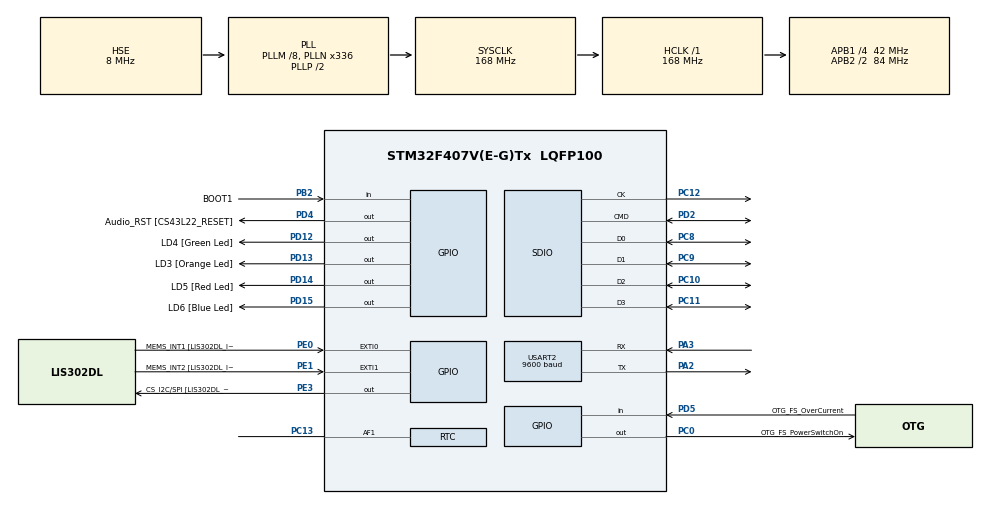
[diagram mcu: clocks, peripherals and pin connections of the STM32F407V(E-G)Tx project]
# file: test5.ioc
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Dma.Request0=USART2_TX
Dma.USART2_TX.0.Channel=DMA_CHANNEL_4
Dma.USART2_TX.0.Direction=DMA_MEMORY_TO_PERIPH
Dma.USART2_TX.0.FIFOMode=DMA_FIFOMODE_DISABLE
Dma.USART2_TX.0.Instance=DMA1_Stream6
Dma.USART2_TX.0.MemDataAlignment=DMA_MDATAALIGN_BYTE
Dma.USART2_TX.0.MemInc=DMA_MINC_ENABLE
Dma.USART2_TX.0.Mode=DMA_NORMAL
Dma.USART2_TX.0.PeriphDataAlignment=DMA_PDATAALIGN_BYTE
Dma.USART2_TX.0.PeriphInc=DMA_PINC_DISABLE
Dma.USART2_TX.0.Priority=DMA_PRIORITY_LOW
FATFS._FS_LOCK=0
FREERTOS.Tasks01=defaultTask,0,128,StartDefaultTask,Default;hk,-2,128,StartTask02,Default
Mcu.Family=STM32F4
Mcu.Name=STM32F407V(E-G)Tx
Mcu.Package=LQFP100
NVIC.DMA1_Stream6_IRQn=true\:5\:0\:false\:false\:true
NVIC.PriorityGroup=NVIC_PRIORITYGROUP_4
NVIC.SDIO_IRQn=true\:5\:0\:false\:false\:true
NVIC.TIM1_UP_TIM10_IRQn=true\:0\:0\:false\:false\:true
NVIC.TimeBase=TIM1_UP_TIM10_IRQn
NVIC.TimeBaseIP=TIM1
NVIC.USART2_IRQn=true\:5\:0\:false\:false\:true
PA10.GPIO_Label=OTG_FS_ID
PA10.GPIO_Mode=GPIO_MODE_AF_PP
PA10.GPIO_PuPd=GPIO_NOPULL
PA10.GPIO_Speed=GPIO_SPEED_FREQ_LOW
PA10.Signal=USB_OTG_FS_ID
PA11.GPIO_Label=OTG_FS_DM
PA11.GPIO_Mode=GPIO_MODE_AF_PP
PA11.GPIO_PuPd=GPIO_NOPULL
PA11.GPIO_Speed=GPIO_SPEED_FREQ_LOW
PA11.Signal=USB_OTG_FS_DM
PA12.GPIO_Label=OTG_FS_DP
PA12.GPIO_Mode=GPIO_MODE_AF_PP
PA12.GPIO_PuPd=GPIO_NOPULL
PA12.GPIO_Speed=GPIO_SPEED_FREQ_LOW
PA12.Signal=USB_OTG_FS_DP
PA13.GPIO_Label=SWDIO
PA13.Mode=Trace-Asynchronous_SW
PA13.Signal=SYS_JTMS-SWDIO
PA14.GPIO_Label=SWCLK
PA14.Mode=Trace-Asynchronous_SW
PA14.Signal=SYS_JTCK-SWCLK
PA2.Mode=Asynchronous
PA2.Signal=USART2_TX
PA3.Mode=Asynchronous
PA3.Signal=USART2_RX
PA4.GPIO_Label=I2S3_WS [CS43L22_LRCK]
PA4.GPIO_Mode=GPIO_MODE_AF_PP
PA4.GPIO_PuPd=GPIO_NOPULL
PA4.GPIO_Speed=GPIO_SPEED_FREQ_LOW
PA4.Signal=I2S3_WS
PA5.GPIO_Label=SPI1_SCK [LIS302DL_SCL/SPC]
PA5.GPIO_Mode=GPIO_MODE_AF_PP
PA5.GPIO_PuPd=GPIO_NOPULL
PA5.GPIO_Speed=GPIO_SPEED_FREQ_LOW
PA5.Signal=SPI1_SCK
PA6.GPIO_Label=SPI1_MISO [LIS302DL_SDO]
PA6.GPIO_Mode=GPIO_MODE_AF_PP
PA6.GPIO_PuPd=GPIO_NOPULL
PA6.GPIO_Speed=GPIO_SPEED_FREQ_LOW
PA6.Signal=SPI1_MISO
PA7.GPIO_Label=SPI1_MOSI [LIS302DL_SDA/SDI/SDO]
PA7.GPIO_Mode=GPIO_MODE_AF_PP
PA7.GPIO_PuPd=GPIO_NOPULL
PA7.GPIO_Speed=GPIO_SPEED_FREQ_LOW
PA7.Signal=SPI1_MOSI
PA9.GPIO_Label=VBUS_FS
PA9.GPIO_Mode=GPIO_MODE_INPUT
PA9.GPIO_PuPd=GPIO_NOPULL
PA9.Signal=USB_OTG_FS_VBUS
PB10.GPIO_Label=CLK_IN [MP45DT02_CLK]
PB10.GPIO_Mode=GPIO_MODE_AF_PP
PB10.GPIO_PuPd=GPIO_NOPULL
PB10.GPIO_Speed=GPIO_SPEED_FREQ_LOW
PB10.Signal=I2S2_CK
PB2.GPIO_Label=BOOT1
PB2.GPIO_Mode=GPIO_MODE_INPUT
PB2.GPIO_PuPd=GPIO_NOPULL
PB2.Signal=GPIO_Input
PB3.GPIO_Label=SWO
PB3.Mode=Trace-Asynchronous_SW
PB3.Signal=SYS_JTDO-SWO
PB6.GPIO_Label=Audio_SCL [CS43L22_SCL]
PB6.GPIO_Mode=GPIO_MODE_AF_OD
PB6.GPIO_PuPd=GPIO_NOPULL
PB6.GPIO_Speed=GPIO_SPEED_FREQ_LOW
PB6.Signal=I2C1_SCL
PB9.GPIO_Label=Audio_SDA [CS43L22_SDA]
PB9.GPIO_Mode=GPIO_MODE_AF_OD
PB9.GPIO_PuPd=GPIO_NOPULL
PB9.GPIO_Speed=GPIO_SPEED_FREQ_LOW
PB9.Signal=I2C1_SDA
PC0.GPIO_Label=OTG_FS_PowerSwitchOn
PC0.GPIO_PuPd=GPIO_NOPULL
PC0.GPIO_Speed=GPIO_SPEED_FREQ_LOW
PC0.Signal=GPIO_Output
PC10.Mode=SD_4_bits_Wide_bus
PC10.Signal=SDIO_D2
PC11.Mode=SD_4_bits_Wide_bus
PC11.Signal=SDIO_D3
PC12.Mode=SD_4_bits_Wide_bus
PC12.Signal=SDIO_CK
PC13-ANTI_TAMP.Mode=Calibration_1Hz
PC13-ANTI_TAMP.Signal=RTC_AF1
PC14-OSC32_IN.GPIO_Label=PC14-OSC32_IN
PC14-OSC32_IN.Signal=RCC_OSC32_IN
PC15-OSC32_OUT.GPIO_Label=PC15-OSC32_OUT
PC15-OSC32_OUT.Signal=RCC_OSC32_OUT
PC3.GPIO_Label=PDM_OUT [MP45DT02_DOUT]
PC3.GPIO_Mode=GPIO_MODE_AF_PP
PC3.GPIO_PuPd=GPIO_NOPULL
PC3.GPIO_Speed=GPIO_SPEED_FREQ_LOW
PC3.Signal=I2S2_SD
PC7.GPIO_Label=I2S3_MCK [CS43L22_MCLK]
PC7.GPIO_Mode=GPIO_MODE_AF_PP
PC7.GPIO_PuPd=GPIO_NOPULL
PC7.GPIO_Speed=GPIO_SPEED_FREQ_LOW
PC7.Signal=I2S3_MCK
PC8.Mode=SD_4_bits_Wide_bus
PC8.Signal=SDIO_D0
PC9.Mode=SD_4_bits_Wide_bus
PC9.Signal=SDIO_D1
PD12.GPIO_Label=LD4 [Green Led]
PD12.GPIO_PuPd=GPIO_NOPULL
PD12.GPIO_Speed=GPIO_SPEED_FREQ_LOW
PD12.Signal=GPIO_Output
PD13.GPIO_Label=LD3 [Orange Led]
PD13.GPIO_PuPd=GPIO_NOPULL
PD13.GPIO_Speed=GPIO_SPEED_FREQ_LOW
PD13.Signal=GPIO_Output
PD14.GPIO_Label=LD5 [Red Led]
PD14.GPIO_PuPd=GPIO_NOPULL
PD14.GPIO_Speed=GPIO_SPEED_FREQ_LOW
PD14.Signal=GPIO_Output
PD15.GPIO_Label=LD6 [Blue Led]
PD15.GPIO_PuPd=GPIO_NOPULL
PD15.GPIO_Speed=GPIO_SPEED_FREQ_LOW
PD15.Signal=GPIO_Output
PD2.Mode=SD_4_bits_Wide_bus
PD2.Signal=SDIO_CMD
PD4.GPIO_Label=Audio_RST [CS43L22_RESET]
PD4.GPIO_PuPd=GPIO_NOPULL
PD4.GPIO_Speed=GPIO_SPEED_FREQ_LOW
PD4.Signal=GPIO_Output
PD5.GPIO_Label=OTG_FS_OverCurrent
PD5.GPIO_Mode=GPIO_MODE_INPUT
PD5.GPIO_PuPd=GPIO_NOPULL
PD5.Signal=GPIO_Input
PE0.GPIO_Label=MEMS_INT1 [LIS302DL_INT1]
PE0.Signal=GPXTI0
PE1.GPIO_Label=MEMS_INT2 [LIS302DL_INT2]
PE1.GPIO_ModeDefaultEXTI=GPIO_MODE_EVT_RISING
PE1.GPIO_PuPd=GPIO_NOPULL
PE1.Signal=GPXTI1
PE3.GPIO_Label=CS_I2C/SPI [LIS302DL_CS_I2C/SPI]
PE3.GPIO_PuPd=GPIO_NOPULL
PE3.GPIO_Speed=GPIO_SPEED_FREQ_LOW
PE3.Signal=GPIO_Output
PH0-OSC_IN.GPIO_Label=PH0-OSC_IN
PH0-OSC_IN.Mode=HSE-External-Oscillator
PH0-OSC_IN.Signal=RCC_OSC_IN
PH1-OSC_OUT.GPIO_Label=PH1-OSC_OUT
PH1-OSC_OUT.Mode=HSE-External-Oscillator
PH1-OSC_OUT.Signal=RCC_OSC_OUT
ProjectManager.HeapSize=0x200
ProjectManager.StackSize=0x400
ProjectManager.TargetToolchain=EWARM
RCC.AHBFreq_Value=168000000
RCC.APB1CLKDivider=RCC_HCLK_DIV4
RCC.APB1Freq_Value=42000000
RCC.APB1TimFreq_Value=84000000
RCC.APB2CLKDivider=RCC_HCLK_DIV2
RCC.APB2Freq_Value=84000000
RCC.APB2TimFreq_Value=168000000
RCC.CortexFreq_Value=168000000
RCC.HCLKFreq_Value=168000000
RCC.HSE_VALUE=8000000
RCC.HSI_VALUE=16000000
RCC.LSE_VALUE=32768
RCC.PLLM=8
RCC.PLLN=336
RCC.PLLQ=7
RCC.PLLSourceVirtual=RCC_PLLSOURCE_HSE
RCC.SYSCLKFreq_VALUE=168000000
RCC.SYSCLKSource=RCC_SYSCLKSOURCE_PLLCLK
RCC.VCOOutputFreq_Value=336000000
RTC.Format=RTC_FORMAT_BIN
RTC.Hours=12
RTC.Minutes=15
RTC.Month=RTC_MONTH_APRIL
RTC.Seconds=17
RTC.StoreOperation=RTC_STOREOPERATION_RESET
RTC.WeekDay=RTC_WEEKDAY_FRIDAY
RTC.Year=16
SDIO.BusWide=SDIO_BUS_WIDE_1B
SDIO.WideMode=SDIO_BUS_WIDE_4B
USART2.BaudRate=9600
VP_FATFS_VS_SDIO.Mode=SDIO
VP_FREERTOS_VS_ENABLE.Mode=Enabled
VP_IWDG_VS_IWDG.Mode=IWDG_Activate
VP_SYS_VS_tim1.Mode=TIM1
VP_WWDG_VS_WWDG.Mode=WWDG_Activate
board=STM32F407G-DISC1

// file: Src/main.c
/**
  ******************************************************************************
  * File Name          : main.c
  * Description        : Main program body
  ******************************************************************************
  *
  * COPYRIGHT(c) 2016 STMicroelectronics
  *
  * Redistribution and use in source and binary forms, with or without modification,
  * are permitted provided that the following conditions are met:
  *   1. Redistributions of source code must retain the above copyright notice,
  *      this list of conditions and the following disclaimer.
  *   2. Redistributions in binary form must reproduce the above copyright notice,
  *      this list of conditions and the following disclaimer in the documentation
  *      and/or other materials provided with the distribution.
  *   3. Neither the name of STMicroelectronics nor the names of its contributors
  *      may be used to endorse or promote products derived from this software
  *      without specific prior written permission.
  *
  * THIS SOFTWARE IS PROVIDED BY THE COPYRIGHT HOLDERS AND CONTRIBUTORS "AS IS"
  * AND ANY EXPRESS OR IMPLIED WARRANTIES, INCLUDING, BUT NOT LIMITED TO, THE
  * IMPLIED WARRANTIES OF MERCHANTABILITY AND FITNESS FOR A PARTICULAR PURPOSE ARE
  * DISCLAIMED. IN NO EVENT SHALL THE COPYRIGHT HOLDER OR CONTRIBUTORS BE LIABLE
  * FOR ANY DIRECT, INDIRECT, INCIDENTAL, SPECIAL, EXEMPLARY, OR CONSEQUENTIAL
  * DAMAGES (INCLUDING, BUT NOT LIMITED TO, PROCUREMENT OF SUBSTITUTE GOODS OR
  * SERVICES; LOSS OF USE, DATA, OR PROFITS; OR BUSINESS INTERRUPTION) HOWEVER
  * CAUSED AND ON ANY THEORY OF LIABILITY, WHETHER IN CONTRACT, STRICT LIABILITY,
  * OR TORT (INCLUDING NEGLIGENCE OR OTHERWISE) ARISING IN ANY WAY OUT OF THE USE
  * OF THIS SOFTWARE, EVEN IF ADVISED OF THE POSSIBILITY OF SUCH DAMAGE.
  *
  ******************************************************************************
  */

#include "fatfs.h"
#include <stdio.h>
#include <string.h>
#include "stm32f4xx_hal.h"
#include "stm32f4xx_hal_gpio.h"
#include "stm32f4xx_hal_rcc.h"
#include "stm32f4xx_hal_uart.h"
#include "cmsis_os.h"
#include "fatfs.h"
#include "FreeRTOS.h"
#include "task.h"
#include "timers.h"
#include "semphr.h"
#include "scheduling_service.h"

IWDG_HandleTypeDef hiwdg;

RTC_HandleTypeDef hrtc;

SD_HandleTypeDef hsd;
HAL_SD_CardInfoTypedef SDCardInfo;

UART_HandleTypeDef huart2;
DMA_HandleTypeDef hdma_usart2_tx;

WWDG_HandleTypeDef hwwdg;

osThreadId defaultTaskHandle;
osThreadId hkHandle;

/* USER CODE BEGIN PV */
/* Private variables ---------------------------------------------------------*/

/* USER CODE END PV */

void SystemClock_Config(void);
static void MX_GPIO_Init(void);
static void MX_DMA_Init(void);
static void MX_SDIO_SD_Init(void);
static void MX_USART2_UART_Init(void);
static void MX_RTC_Init(void);
static void MX_IWDG_Init(void);
static void MX_WWDG_Init(void);

void StartDefaultTask(void const * argument);
void StartTask02(void const * argument);

/* USER CODE BEGIN PFP */
/* Private function prototypes -----------------------------------------------*/
TaskFunction_t ToggleLED_Timer1(void*);
TaskFunction_t ToggleLED_Timer2(void*);
TaskFunction_t ToggleLED_Timer3(void*);
TaskFunction_t ToggleLED_Timer4(void*);
TaskFunction_t UART2_ReceiveData(void*);
TaskFunction_t UART2_TransmitData(void*);
TaskFunction_t UART2_TransmitData(void* pvParameters);
/* USER CODE END PFP */

int main(void)
{

  /* MCU Configuration----------------------------------------------------------*/

  /* Reset of all peripherals, Initializes the Flash interface and the Systick. */
  HAL_Init();

  /* Configure the system clock */
  SystemClock_Config();

  /* Initialize all configured peripherals */
  MX_GPIO_Init();
  MX_DMA_Init();
  MX_SDIO_SD_Init();
  MX_USART2_UART_Init();
  MX_RTC_Init();
  MX_IWDG_Init();
  MX_WWDG_Init();

  /* Create the thread(s) */
  /* definition and creation of defaultTask */

  osThreadDef(defaultTask, StartDefaultTask, osPriorityNormal, 0, 128);
  defaultTaskHandle = osThreadCreate(osThread(defaultTask), NULL);

  /* definition and creation of hk */
  osThreadDef(hk, StartTask02, osPriorityLow, 0, 128);
  hkHandle = osThreadCreate(osThread(hk), NULL);

  /* USER CODE BEGIN RTOS_THREADS */
      xTaskCreate(
               ToggleLED_Timer1, /* Function pointer */
               "Task1", /* Task name - for debugging only*/
               configMINIMAL_STACK_SIZE, /* Stack depth in words */
               (void*) NULL, /* Pointer to tasks arguments (parameter) */
               tskIDLE_PRIORITY + 2UL, /* Task priority*/
               NULL /* Task handle */
      );
//    xTaskCreate(
//                UART2_TransmitData, /* Function pointer */
//                "usasrtrx", /* Task name - for debugging only*/
//                configMINIMAL_STACK_SIZE, /* Stack depth in words */
//                (void*) NULL, /* Pointer to tasks arguments (parameter) */
//                tskIDLE_PRIORITY + 2UL, /* Task priority*/
//                NULL /* Task handle */
//                );
//      xTaskCreate(
//    		  ToggleLED_Timer2,                 /* Function pointer */
//    		  "Task1",                          /* Task name - for debugging only*/
//    		  configMINIMAL_STACK_SIZE,         /* Stack depth in words */
//    		  (void*) NULL,                     /* Pointer to tasks arguments (parameter) */
//    		  tskIDLE_PRIORITY + 2UL,           /* Task priority*/
//    		  NULL                              /* Task handle */
//      );
//
//      xTaskCreate(
//    		  ToggleLED_Timer3,                 /* Function pointer */
//    		  "Task1",                          /* Task name - for debugging only*/
//    		  configMINIMAL_STACK_SIZE,         /* Stack depth in words */
//    		  (void*) NULL,                     /* Pointer to tasks arguments (parameter) */
//    		  tskIDLE_PRIORITY + 2UL,           /* Task priority*/
//    		  NULL                              /* Task handle */
//      );
//
//      xTaskCreate(
//    		  ToggleLED_Timer4,                 /* Function pointer */
//    		  "Task1",                          /* Task name - for debugging only*/
//    		  configMINIMAL_STACK_SIZE,         /* Stack depth in words */
//    		  (void*) NULL,                     /* Pointer to tasks arguments (parameter) */
//    		  tskIDLE_PRIORITY + 2UL,           /* Task priority*/
//    		  NULL                              /* Task handle */
//      );
  /* add threads, ... */
  /* USER CODE END RTOS_THREADS */

  /* Start scheduler */
  osKernelStart();

  /* We should never get here as control is now taken by the scheduler */

  /* Infinite loop */
  while (1)
  {

  }

}

/**
 * TASK 1: Toggle LED via RTOS Timer
 */
TaskFunction_t ToggleLED_Timer1(void *pvParameters)
{
    while (1)
    {
        HAL_GPIO_TogglePin(GPIOD, GPIO_PIN_12);
        //    GPIO_ToggleBits(GPIOD, GPIO_Pin_13);
        //    GPIO_ToggleBits(GPIOD, GPIO_Pin_14);
        //    GPIO_ToggleBits(GPIOD, GPIO_Pin_15);
        /*
        Delay for a period of time. vTaskDelay() places the task into
        the Blocked state until the period has expired.
        The delay period is spacified in 'ticks'. We can convert
        yhis in milisecond with the constant portTICK_RATE_MS.
         */
        vTaskDelay(250 / portTICK_RATE_MS);
    }

}

TaskFunction_t UART2_TransmitData(void* pvParameters)
{
    while (1)
    {
        char *test = "Hello\n";
        uint8_t t1[19] = {126,24,1,192,185,0,10,16,8,1, 6,1,0,0,0,8,0,124,126};
        uint8_t t2[19] = {126,24,1,192,185,0,10,16,8,1, 6,0,1,0,0,8,0,124,126};
        uint8_t t3[19] = {126,24,1,192,185,0,10,16,8,1, 6,1,1,1,1,8,1,124,126};
        uint8_t t4[19] = {126,24,1,192,185,0,10,16,8,1, 6,0,0,0,0,1,0,124,126};

        //        HAL_UART_Receive_IT( &UartHandle, gpsdata ,100 );
        HAL_UART_Transmit(&huart2, (uint8_t *) test, 6, 5000);

        HAL_UART_Transmit(&huart2, (uint8_t *) t1, 19, 5000);
        HAL_UART_Transmit(&huart2, (uint8_t *) t2, 19, 5000);
        HAL_UART_Transmit(&huart2, (uint8_t *) t3, 19, 5000);
        HAL_UART_Transmit(&huart2, (uint8_t *) t4, 19, 5000);
//        C_ASSERT(false);
        vTaskDelay(1000 / portTICK_RATE_MS);
    }
}

/**
 * TASK 1: Toggle LED via RTOS Timer
 */
TaskFunction_t ToggleLED_Timer2(void *pvParameters)
{
    while (1)
    {
        //    GPIO_ToggleBits(GPIOD, GPIO_Pin_12);
        //    GPIO_ToggleBits(GPIOD, GPIO_Pin_13);
        HAL_GPIO_TogglePin(GPIOD, GPIO_PIN_14);
        //    GPIO_ToggleBits(GPIOD, GPIO_Pin_15);
        /*
        Delay for a period of time. vTaskDelay() places the task into
        the Blocked state until the period has expired.
        The delay period is spacified in 'ticks'. We can convert
        yhis in milisecond with the constant portTICK_RATE_MS.
         */
        vTaskDelay(500 / portTICK_RATE_MS);
    }
}

/**
 * TASK 1: Toggle LED via RTOS Timer
 */
TaskFunction_t ToggleLED_Timer3(void *pvParameters)
{
    while (1)
    {
        //    GPIO_ToggleBits(GPIOD, GPIO_Pin_12);
        //    GPIO_ToggleBits(GPIOD, GPIO_Pin_13);
        //    GPIO_ToggleBits(GPIOD, GPIO_Pin_14);
        HAL_GPIO_TogglePin(GPIOD, GPIO_PIN_15);
        /*
        Delay for a period of time. vTaskDelay() places the task into
        the Blocked state until the period has expired.
        The delay period is spacified in 'ticks'. We can convert
        yhis in milisecond with the constant portTICK_RATE_MS.
         */
        vTaskDelay(1000 / portTICK_RATE_MS);
    }
}

/**
 * TASK 1: Toggle LED via RTOS Timer
 */
TaskFunction_t ToggleLED_Timer4(void *pvParameters)
{
    while (1)
    {
        //    GPIO_ToggleBits(GPIOD, GPIO_Pin_12);
        HAL_GPIO_TogglePin(GPIOD, GPIO_PIN_13);
        //    GPIO_ToggleBits(GPIOD, GPIO_Pin_14);
        //    GPIO_ToggleBits(GPIOD, GPIO_Pin_15);
        /*
        Delay for a period of time. vTaskDelay() places the task into
        the Blocked state until the period has expired.
        The delay period is spacified in 'ticks'. We can convert
        yhis in milisecond with the constant portTICK_RATE_MS.
         */
        vTaskDelay(1500 / portTICK_RATE_MS);
    }
}

/** System Clock Configuration
*/
void SystemClock_Config(void)
{

  RCC_OscInitTypeDef RCC_OscInitStruct;
  RCC_ClkInitTypeDef RCC_ClkInitStruct;
  RCC_PeriphCLKInitTypeDef PeriphClkInitStruct;

  __HAL_RCC_PWR_CLK_ENABLE();

  __HAL_PWR_VOLTAGESCALING_CONFIG(PWR_REGULATOR_VOLTAGE_SCALE1);

  RCC_OscInitStruct.OscillatorType = RCC_OSCILLATORTYPE_LSI|RCC_OSCILLATORTYPE_HSE;
  RCC_OscInitStruct.HSEState = RCC_HSE_ON;
  RCC_OscInitStruct.LSIState = RCC_LSI_ON;
  RCC_OscInitStruct.PLL.PLLState = RCC_PLL_ON;
  RCC_OscInitStruct.PLL.PLLSource = RCC_PLLSOURCE_HSE;
  RCC_OscInitStruct.PLL.PLLM = 8;
  RCC_OscInitStruct.PLL.PLLN = 336;
  RCC_OscInitStruct.PLL.PLLP = RCC_PLLP_DIV2;
  RCC_OscInitStruct.PLL.PLLQ = 7;
  HAL_RCC_OscConfig(&RCC_OscInitStruct);

  RCC_ClkInitStruct.ClockType = RCC_CLOCKTYPE_HCLK|RCC_CLOCKTYPE_SYSCLK
                              |RCC_CLOCKTYPE_PCLK1|RCC_CLOCKTYPE_PCLK2;
  RCC_ClkInitStruct.SYSCLKSource = RCC_SYSCLKSOURCE_PLLCLK;
  RCC_ClkInitStruct.AHBCLKDivider = RCC_SYSCLK_DIV1;
  RCC_ClkInitStruct.APB1CLKDivider = RCC_HCLK_DIV4;
  RCC_ClkInitStruct.APB2CLKDivider = RCC_HCLK_DIV2;
  HAL_RCC_ClockConfig(&RCC_ClkInitStruct, FLASH_LATENCY_5);

  PeriphClkInitStruct.PeriphClockSelection = RCC_PERIPHCLK_RTC;
  PeriphClkInitStruct.RTCClockSelection = RCC_RTCCLKSOURCE_LSI;
  HAL_RCCEx_PeriphCLKConfig(&PeriphClkInitStruct);

  HAL_SYSTICK_Config(HAL_RCC_GetHCLKFreq()/1000);

  HAL_SYSTICK_CLKSourceConfig(SYSTICK_CLKSOURCE_HCLK);

  /* SysTick_IRQn interrupt configuration */
  HAL_NVIC_SetPriority(SysTick_IRQn, 15, 0);
}

/* IWDG init function */
void MX_IWDG_Init(void)
{

  hiwdg.Instance = IWDG;
  hiwdg.Init.Prescaler = IWDG_PRESCALER_4;
  hiwdg.Init.Reload = 4095;
  HAL_IWDG_Init(&hiwdg);

}

/* RTC init function */
void MX_RTC_Init(void)
{

  RTC_TimeTypeDef sTime;
  RTC_DateTypeDef sDate;

    /**Initialize RTC and set the Time and Date
    */
  hrtc.Instance = RTC;
  hrtc.Init.HourFormat = RTC_HOURFORMAT_24;
  hrtc.Init.AsynchPrediv = 127;
  hrtc.Init.SynchPrediv = 255;
  hrtc.Init.OutPut = RTC_OUTPUT_DISABLE;
  hrtc.Init.OutPutPolarity = RTC_OUTPUT_POLARITY_HIGH;
  hrtc.Init.OutPutType = RTC_OUTPUT_TYPE_OPENDRAIN;
  HAL_RTC_Init(&hrtc);

  sTime.Hours = 12;
  sTime.Minutes = 15;
  sTime.Seconds = 17;
  sTime.DayLightSaving = RTC_DAYLIGHTSAVING_NONE;
  sTime.StoreOperation = RTC_STOREOPERATION_RESET;
  HAL_RTC_SetTime(&hrtc, &sTime, RTC_FORMAT_BIN);

  sDate.WeekDay = RTC_WEEKDAY_FRIDAY;
  sDate.Month = RTC_MONTH_APRIL;
  sDate.Date = 1;
  sDate.Year = 16;

  HAL_RTC_SetDate(&hrtc, &sDate, RTC_FORMAT_BIN);

    /**Enable Calibrartion
    */
  HAL_RTCEx_SetCalibrationOutPut(&hrtc, RTC_CALIBOUTPUT_1HZ);

}

/* SDIO init function */
void MX_SDIO_SD_Init(void)
{

  hsd.Instance = SDIO;
  hsd.Init.ClockEdge = SDIO_CLOCK_EDGE_RISING;
  hsd.Init.ClockBypass = SDIO_CLOCK_BYPASS_DISABLE;
  hsd.Init.ClockPowerSave = SDIO_CLOCK_POWER_SAVE_DISABLE;
  hsd.Init.BusWide = SDIO_BUS_WIDE_1B;
  hsd.Init.HardwareFlowControl = SDIO_HARDWARE_FLOW_CONTROL_DISABLE;
  hsd.Init.ClockDiv = 0;

}

/* USART2 init function */
void MX_USART2_UART_Init(void)
{

  huart2.Instance = USART2;
  huart2.Init.BaudRate = 9600;
  huart2.Init.WordLength = UART_WORDLENGTH_8B;
  huart2.Init.StopBits = UART_STOPBITS_1;
  huart2.Init.Parity = UART_PARITY_NONE;
  huart2.Init.Mode = UART_MODE_TX_RX;
  huart2.Init.HwFlowCtl = UART_HWCONTROL_NONE;
  huart2.Init.OverSampling = UART_OVERSAMPLING_16;
  HAL_UART_Init(&huart2);

}

/* WWDG init function */
void MX_WWDG_Init(void)
{

  hwwdg.Instance = WWDG;
  hwwdg.Init.Prescaler = WWDG_PRESCALER_1;
  hwwdg.Init.Window = 64;
  hwwdg.Init.Counter = 64;
  HAL_WWDG_Init(&hwwdg);

}

void MX_DMA_Init(void)
{
  /* DMA controller clock enable */
  __HAL_RCC_DMA1_CLK_ENABLE();

  /* DMA interrupt init */
  /* DMA1_Stream6_IRQn interrupt configuration */
  HAL_NVIC_SetPriority(DMA1_Stream6_IRQn, 5, 0);
  HAL_NVIC_EnableIRQ(DMA1_Stream6_IRQn);

}

/** Configure pins as
        * Analog
        * Input
        * Output
        * EVENT_OUT
        * EXTI
     PC3   ------> I2S2_SD
     PA4   ------> I2S3_WS
     PA5   ------> SPI1_SCK
     PA6   ------> SPI1_MISO
     PA7   ------> SPI1_MOSI
     PB10   ------> I2S2_CK
     PC7   ------> I2S3_MCK
     PA9   ------> USB_OTG_FS_VBUS
     PA10   ------> USB_OTG_FS_ID
     PA11   ------> USB_OTG_FS_DM
     PA12   ------> USB_OTG_FS_DP
     PB6   ------> I2C1_SCL
     PB9   ------> I2C1_SDA
*/
void MX_GPIO_Init(void)
{

  GPIO_InitTypeDef GPIO_InitStruct;

  /* GPIO Ports Clock Enable */
  __HAL_RCC_GPIOE_CLK_ENABLE();
  __HAL_RCC_GPIOC_CLK_ENABLE();
  __HAL_RCC_GPIOH_CLK_ENABLE();
  __HAL_RCC_GPIOA_CLK_ENABLE();
  __HAL_RCC_GPIOB_CLK_ENABLE();
  __HAL_RCC_GPIOD_CLK_ENABLE();

  /*Configure GPIO pin Output Level */
  HAL_GPIO_WritePin(CS_I2C_SPI_GPIO_Port, CS_I2C_SPI_Pin, GPIO_PIN_RESET);

  /*Configure GPIO pin Output Level */
  HAL_GPIO_WritePin(OTG_FS_PowerSwitchOn_GPIO_Port, OTG_FS_PowerSwitchOn_Pin, GPIO_PIN_RESET);

  /*Configure GPIO pin Output Level */
  HAL_GPIO_WritePin(GPIOD, LD4_Pin|LD3_Pin|LD5_Pin|LD6_Pin
                          |Audio_RST_Pin, GPIO_PIN_RESET);

  /*Configure GPIO pin : CS_I2C_SPI_Pin */
  GPIO_InitStruct.Pin = CS_I2C_SPI_Pin;
  GPIO_InitStruct.Mode = GPIO_MODE_OUTPUT_PP;
  GPIO_InitStruct.Pull = GPIO_NOPULL;
  GPIO_InitStruct.Speed = GPIO_SPEED_FREQ_LOW;
  HAL_GPIO_Init(CS_I2C_SPI_GPIO_Port, &GPIO_InitStruct);

  /*Configure GPIO pin : OTG_FS_PowerSwitchOn_Pin */
  GPIO_InitStruct.Pin = OTG_FS_PowerSwitchOn_Pin;
  GPIO_InitStruct.Mode = GPIO_MODE_OUTPUT_PP;
  GPIO_InitStruct.Pull = GPIO_NOPULL;
  GPIO_InitStruct.Speed = GPIO_SPEED_FREQ_LOW;
  HAL_GPIO_Init(OTG_FS_PowerSwitchOn_GPIO_Port, &GPIO_InitStruct);

  /*Configure GPIO pin : PDM_OUT_Pin */
  GPIO_InitStruct.Pin = PDM_OUT_Pin;
  GPIO_InitStruct.Mode = GPIO_MODE_AF_PP;
  GPIO_InitStruct.Pull = GPIO_NOPULL;
  GPIO_InitStruct.Speed = GPIO_SPEED_FREQ_LOW;
  GPIO_InitStruct.Alternate = GPIO_AF5_SPI2;
  HAL_GPIO_Init(PDM_OUT_GPIO_Port, &GPIO_InitStruct);

  /*Configure GPIO pin : PA4 */
  GPIO_InitStruct.Pin = GPIO_PIN_4;
  GPIO_InitStruct.Mode = GPIO_MODE_AF_PP;
  GPIO_InitStruct.Pull = GPIO_NOPULL;
  GPIO_InitStruct.Speed = GPIO_SPEED_FREQ_LOW;
  GPIO_InitStruct.Alternate = GPIO_AF6_SPI3;
  HAL_GPIO_Init(GPIOA, &GPIO_InitStruct);

  /*Configure GPIO pins : PA5 PA6 PA7 */
  GPIO_InitStruct.Pin = GPIO_PIN_5|GPIO_PIN_6|GPIO_PIN_7;
  GPIO_InitStruct.Mode = GPIO_MODE_AF_PP;
  GPIO_InitStruct.Pull = GPIO_NOPULL;
  GPIO_InitStruct.Speed = GPIO_SPEED_FREQ_LOW;
  GPIO_InitStruct.Alternate = GPIO_AF5_SPI1;
  HAL_GPIO_Init(GPIOA, &GPIO_InitStruct);

  /*Configure GPIO pin : BOOT1_Pin */
  GPIO_InitStruct.Pin = BOOT1_Pin;
  GPIO_InitStruct.Mode = GPIO_MODE_INPUT;
  GPIO_InitStruct.Pull = GPIO_NOPULL;
  HAL_GPIO_Init(BOOT1_GPIO_Port, &GPIO_InitStruct);

  /*Configure GPIO pin : CLK_IN_Pin */
  GPIO_InitStruct.Pin = CLK_IN_Pin;
  GPIO_InitStruct.Mode = GPIO_MODE_AF_PP;
  GPIO_InitStruct.Pull = GPIO_NOPULL;
  GPIO_InitStruct.Speed = GPIO_SPEED_FREQ_LOW;
  GPIO_InitStruct.Alternate = GPIO_AF5_SPI2;
  HAL_GPIO_Init(CLK_IN_GPIO_Port, &GPIO_InitStruct);

  /*Configure GPIO pins : LD4_Pin LD3_Pin LD5_Pin LD6_Pin
                           Audio_RST_Pin */
  GPIO_InitStruct.Pin = LD4_Pin|LD3_Pin|LD5_Pin|LD6_Pin
                          |Audio_RST_Pin;
  GPIO_InitStruct.Mode = GPIO_MODE_OUTPUT_PP;
  GPIO_InitStruct.Pull = GPIO_NOPULL;
  GPIO_InitStruct.Speed = GPIO_SPEED_FREQ_LOW;
  HAL_GPIO_Init(GPIOD, &GPIO_InitStruct);

  /*Configure GPIO pin : PC7 */
  GPIO_InitStruct.Pin = GPIO_PIN_7;
  GPIO_InitStruct.Mode = GPIO_MODE_AF_PP;
  GPIO_InitStruct.Pull = GPIO_NOPULL;
  GPIO_InitStruct.Speed = GPIO_SPEED_FREQ_LOW;
  GPIO_InitStruct.Alternate = GPIO_AF6_SPI3;
  HAL_GPIO_Init(GPIOC, &GPIO_InitStruct);

  /*Configure GPIO pin : VBUS_FS_Pin */
  GPIO_InitStruct.Pin = VBUS_FS_Pin;
  GPIO_InitStruct.Mode = GPIO_MODE_INPUT;
  GPIO_InitStruct.Pull = GPIO_NOPULL;
  HAL_GPIO_Init(VBUS_FS_GPIO_Port, &GPIO_InitStruct);

  /*Configure GPIO pins : OTG_FS_ID_Pin OTG_FS_DM_Pin OTG_FS_DP_Pin */
  GPIO_InitStruct.Pin = OTG_FS_ID_Pin|OTG_FS_DM_Pin|OTG_FS_DP_Pin;
  GPIO_InitStruct.Mode = GPIO_MODE_AF_PP;
  GPIO_InitStruct.Pull = GPIO_NOPULL;
  GPIO_InitStruct.Speed = GPIO_SPEED_FREQ_LOW;
  GPIO_InitStruct.Alternate = GPIO_AF10_OTG_FS;
  HAL_GPIO_Init(GPIOA, &GPIO_InitStruct);

  /*Configure GPIO pin : OTG_FS_OverCurrent_Pin */
  GPIO_InitStruct.Pin = OTG_FS_OverCurrent_Pin;
  GPIO_InitStruct.Mode = GPIO_MODE_INPUT;
  GPIO_InitStruct.Pull = GPIO_NOPULL;
  HAL_GPIO_Init(OTG_FS_OverCurrent_GPIO_Port, &GPIO_InitStruct);

  /*Configure GPIO pins : Audio_SCL_Pin Audio_SDA_Pin */
  GPIO_InitStruct.Pin = Audio_SCL_Pin|Audio_SDA_Pin;
  GPIO_InitStruct.Mode = GPIO_MODE_AF_OD;
  GPIO_InitStruct.Pull = GPIO_PULLUP;
  GPIO_InitStruct.Speed = GPIO_SPEED_FREQ_LOW;
  GPIO_InitStruct.Alternate = GPIO_AF4_I2C1;
  HAL_GPIO_Init(GPIOB, &GPIO_InitStruct);

  /*Configure GPIO pin : MEMS_INT1_Pin */
  GPIO_InitStruct.Pin = MEMS_INT1_Pin;
  GPIO_InitStruct.Mode = GPIO_MODE_IT_RISING;
  GPIO_InitStruct.Pull = GPIO_NOPULL;
  HAL_GPIO_Init(MEMS_INT1_GPIO_Port, &GPIO_InitStruct);

  /*Configure GPIO pin : MEMS_INT2_Pin */
  GPIO_InitStruct.Pin = MEMS_INT2_Pin;
  GPIO_InitStruct.Mode = GPIO_MODE_EVT_RISING;
  GPIO_InitStruct.Pull = GPIO_NOPULL;
  HAL_GPIO_Init(MEMS_INT2_GPIO_Port, &GPIO_InitStruct);

}

/* StartDefaultTask function */
void StartDefaultTask(void const * argument)
{
  /* init code for FATFS */
  MX_FATFS_Init();

  /* USER CODE BEGIN 5 */
  __HAL_UART_ENABLE_IT(&huart2, UART_IT_RXNE);
   HAL_UART_RxCpltCallback(&huart2);
   obc_data.rsrc = 0;
   HAL_reset_source(&obc_data.rsrc);
   update_boot_counter();
//
   uint32_t t1, t2, t3;

   t1 = time_cmp_elapsed(3, 6);
   t2 = time_cmp_elapsed(0xfffffff0, 0xfffffff6);
   t3 = time_cmp_elapsed(0xfffffff0, 3);

   t1 = get_time_ELAPSED();
   osDelay(10);
   t2 = get_time_ELAPSED();
   osDelay(1000);
   t3 = get_time_ELAPSED();

   //scheduling service specific
   scheduling_init_service();

   //event_log(reset source);
   uint8_t uart_temp[20];
   pkt_pool_INIT();
   HAL_obc_enableBkUpAccess();
   bkup_sram_INIT();
   *obc_data.log_cnt = 0;
   uint8_t hours, mins, sec = 0;
   HAL_obc_getTime(&hours, &mins, &sec);
//   sprintf( (char*)uart_temp, "T: %d:%d:%d\n", hours, mins, sec);
//   HAL_UART_Transmit(&huart2, uart_temp, 19 , 10000);
//
//   //hours = 19;
//   //mins = 35;
//   //sec = 11;
//   //HAL_obc_setTime(hours, mins, sec);
//   //sprintf((char*)uart_temp, "T: %d:%d.%d\n", hours, mins, sec);
//   //HAL_UART_Transmit(&huart2, uart_temp, 19 , 10000);
//
//   sprintf((char*)uart_temp, "F: %u\n", *obc_data.log_cnt);
////   HAL_UART_Transmit(&huart2, uart_temp, 19 , 10000);
//   //(*obc_data.log_cnt)++;
//   //*obc_data.log_cnt = 0;
//   uint8_t tt[] = "YO!\n";
//   event_log(tt, 4);
//
//   event_log_load(uart_temp, (*obc_data.log_cnt) - 4, 4);
////   HAL_UART_Transmit(&huart2, uart_temp, 5 , 10000);
//
//   sprintf((char*)uart_temp, "\nR: %02x\n", obc_data.rsrc);
////   HAL_UART_Transmit(&huart2, uart_temp, 19 , 10000);
//   mass_storage_init();
//
//   //su_INIT();
//   sprintf((char*)uart_temp, "Hello\n");
////   HAL_UART_Transmit(&huart2, uart_temp, 6 , 10000);
//   //HAL_IWDG_Start(&hiwdg); //0x17
//   //HAL_WWDG_Start(&hwwdg); //0x22
//  /* Infinite loop */

   HAL_UART_Receive_IT(&huart2, obc_data.eps_uart_buf, OBC_UART_BUF_SIZE);
//
  for(;;)
  {
    import_eps_pkt();
    //su_SCH();
    osDelay(100);
//     vTaskDelay(1000 / portTICK_RATE_MS);
  }
  /* USER CODE END 5 */
}

/* StartTask02 function */
void StartTask02(void const * argument)
{
  /* USER CODE BEGIN StartTask02 */
  hk_INIT();
  /* Infinite loop */
//  while (1)
//    {
        char *test = "Hello\n";
        char *test1 = "one\n";
        char *test2 = "two\n";
        char *test3 = "three\n";
                                                //when 19 we serial losses one byte!
        uint8_t tt[19] = {126,24,1,192,60 ,0,10,19,8,1, 6,1,0,0,0,8,0,250,126};

        uint8_t t4[19] = {126,24,1,1,666 ,0,10,19,8,1, 6,19,19,19,19,19,0,124,126};

        uint8_t t1[19] = {126,24,1,192,185,0,10,16,8,1, 6,1,0,0,0,8,0,124,126};
        uint8_t t2[19] = {126,24,1,192,185,0,10,16,8,1, 6,0,1,0,0,8,0,124,126};
        uint8_t t3[19] = {126,24,1,192,185,0,10,16,8,1, 6,1,1,1,1,8,1,124,126};

        for(;;)
  {
        //        HAL_UART_Receive_IT( &UartHandle, gpsdata ,100 );
//        HAL_UART_Transmit(&huart2, (uint8_t *) test, 6, 5000);
//
//        HAL_UART_Transmit(&huart2, (uint8_t *) t1, 19, 5000);
//
//        HAL_UART_Transmit(&huart2, (uint8_t *) test1, 4, 5000);
//        HAL_UART_Transmit(&huart2, (uint8_t *) t2, 19, 5000);
//
//        HAL_UART_Transmit(&huart2, (uint8_t *) test2, 4, 5000);
//        HAL_UART_Transmit(&huart2, (uint8_t *) t3, 19, 5000);
//
//
//        HAL_UART_Transmit(&huart2, (uint8_t *) test3, 6, 5000);
        HAL_UART_Transmit(&huart2, (uint8_t *) t4, 19, 5000);
//        HAL_UART_Transmit(&huart2, (uint8_t *) tt, 19, 5000);
////
//    }

//    hk_SCH();
//   osDelay(100);
    cross_schedules();
   vTaskDelay(1000 / portTICK_RATE_MS);
   for(;;)
   {

   }
  }
  /* USER CODE END StartTask02 */
}

/************************ (C) COPYRIGHT STMicroelectronics *****END OF FILE****/
